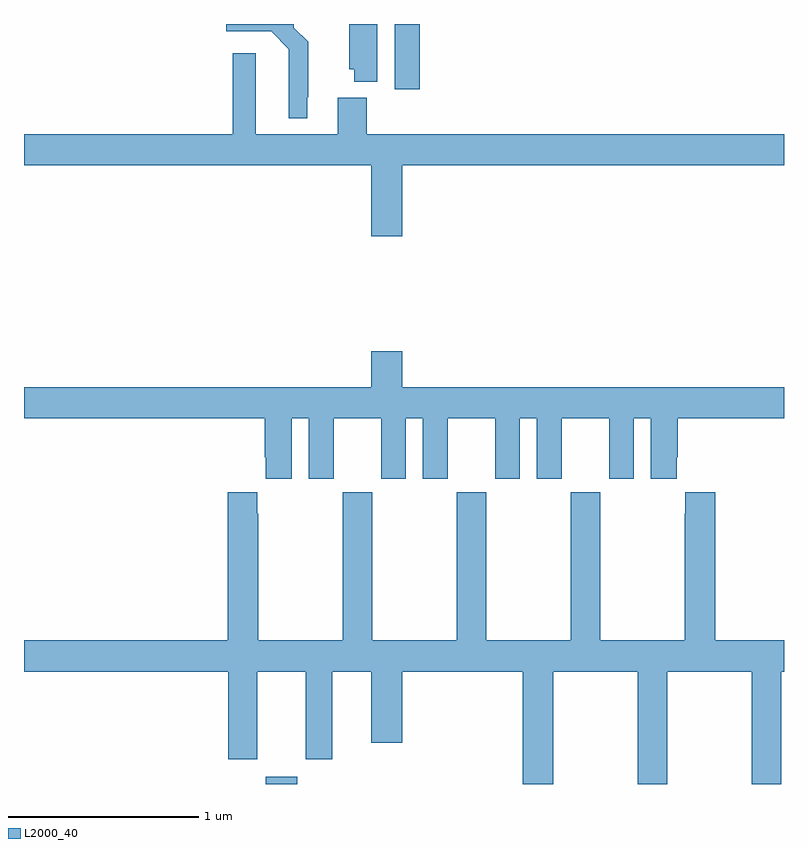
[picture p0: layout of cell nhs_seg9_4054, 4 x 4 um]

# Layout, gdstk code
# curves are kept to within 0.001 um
import gdstk
lib = gdstk.Library(unit=1e-6, precision=1e-09)
def R(c, l, rs):  # rectangles x0, y0, x1, y1
    for r in rs: c.add(gdstk.rectangle(r[:2], r[2:], *l))
def P(c, l, *ps):  # polygons
    for p in ps: c.add(gdstk.Polygon(p, *l))
L2000_40 = (2000, 40)

nhs_seg9_4054 = lib.new_cell('nhs_seg9_4054')
R(nhs_seg9_4054, L2000_40, [(344.273,1190.5,344.437,1190.539), (344.951,1194.156,345.083,1194.5)])
P(nhs_seg9_4054, L2000_40, [(344.86,1194.5),(344.711,1194.5),(344.711,1194.261),(344.738,1194.261),(344.738,1194.197),(344.86,1194.197)],
  [(344.491,1194.115),(344.495,1194.115),(344.495,1194.406),(344.421,1194.48),(344.421,1194.5),(344.064,1194.5),(344.064,1194.461),(344.301,1194.461),(344.394,1194.368),(344.393,1194.005),(344.491,1194.005)],
  [(344.992,1193.756),(347,1193.756),(347,1193.92),(344.804,1193.92),(344.804,1194.112),(344.651,1194.112),(344.651,1193.92),(344.221,1193.92),(344.221,1194.346),(344.099,1194.346),(344.099,1193.92),(343,1193.92),(343,1193.756),(344.828,1193.756),(344.828,1193.382),(344.992,1193.382)],
  [(344.828,1192.777),(344.828,1192.588),(343,1192.588),(343,1192.424),(344.267,1192.424),(344.267,1192.219),(344.273,1192.219),(344.273,1192.107),(344.41,1192.107),(344.41,1192.424),(344.498,1192.424),(344.498,1192.107),(344.629,1192.107),(344.629,1192.424),(344.879,1192.424),(344.879,1192.107),(345.01,1192.107),(345.01,1192.424),(345.098,1192.424),(345.098,1192.107),(345.229,1192.107),(345.229,1192.424),(345.479,1192.424),(345.479,1192.107),(345.61,1192.107),(345.61,1192.424),(345.698,1192.424),(345.698,1192.107),(345.829,1192.107),(345.829,1192.424),(346.079,1192.424),(346.079,1192.107),(346.21,1192.107),(346.21,1192.424),(346.298,1192.424),(346.298,1192.107),(346.435,1192.107),(346.435,1192.219),(346.442,1192.219),(346.442,1192.424),(347,1192.424),(347,1192.588),(344.992,1192.588),(344.992,1192.777)],
  [(345.786,1191.092),(346.231,1191.092),(346.231,1190.5),(346.386,1190.5),(346.386,1191.092),(346.831,1191.092),(346.831,1190.5),(346.986,1190.5),(346.986,1191.092),(347,1191.092),(347,1191.256),(346.637,1191.256),(346.637,1192.036),(346.481,1192.036),(346.481,1191.923),(346.477,1191.923),(346.477,1191.256),(346.032,1191.256),(346.032,1192.036),(345.877,1192.036),(345.877,1191.256),(345.432,1191.256),(345.432,1192.036),(345.277,1192.036),(345.277,1191.256),(344.832,1191.256),(344.832,1192.036),(344.677,1192.036),(344.677,1191.256),(344.232,1191.256),(344.232,1191.923),(344.227,1191.923),(344.227,1192.036),(344.072,1192.036),(344.072,1191.256),(343,1191.256),(343,1191.092),(344.075,1191.092),(344.075,1190.631),(344.227,1190.631),(344.227,1191.092),(344.483,1191.092),(344.483,1190.631),(344.623,1190.631),(344.623,1191.092),(344.828,1191.092),(344.828,1190.718),(344.992,1190.718),(344.992,1191.092),(345.626,1191.092),(345.626,1190.5),(345.786,1190.5)])

lib.write_gds('nhs_seg9_4054.gds')
